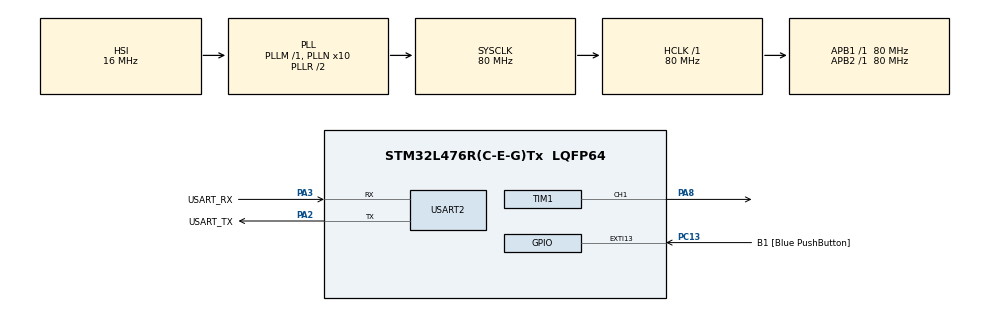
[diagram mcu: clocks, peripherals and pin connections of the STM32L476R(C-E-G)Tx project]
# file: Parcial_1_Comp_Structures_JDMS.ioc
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Mcu.Family=STM32L4
Mcu.Name=STM32L476R(C-E-G)Tx
Mcu.Package=LQFP64
NVIC.PriorityGroup=NVIC_PRIORITYGROUP_4
NVIC.USART2_IRQn=true\:0\:0\:false\:false\:true\:true\:true\:true
PA13\ (JTMS-SWDIO).GPIO_Label=TMS
PA13\ (JTMS-SWDIO).Mode=Serial_Wire
PA13\ (JTMS-SWDIO).Signal=SYS_JTMS-SWDIO
PA14\ (JTCK-SWCLK).GPIO_Label=TCK
PA14\ (JTCK-SWCLK).Mode=Serial_Wire
PA14\ (JTCK-SWCLK).Signal=SYS_JTCK-SWCLK
PA2.GPIO_Label=USART_TX
PA2.GPIO_Mode=GPIO_MODE_AF_PP
PA2.GPIO_PuPd=GPIO_NOPULL
PA2.GPIO_Speed=GPIO_SPEED_FREQ_VERY_HIGH
PA2.Mode=Asynchronous
PA2.Signal=USART2_TX
PA3.GPIO_Label=USART_RX
PA3.GPIO_Mode=GPIO_MODE_AF_PP
PA3.GPIO_PuPd=GPIO_NOPULL
PA3.GPIO_Speed=GPIO_SPEED_FREQ_VERY_HIGH
PA3.Mode=Asynchronous
PA3.Signal=USART2_RX
PA8.Signal=S_TIM1_CH1
PB3\ (JTDO-TRACESWO).GPIO_Label=SWO
PB3\ (JTDO-TRACESWO).Signal=SYS_JTDO-SWO
PC13.GPIO_Label=B1 [Blue PushButton]
PC13.GPIO_ModeDefaultEXTI=GPIO_MODE_IT_FALLING
PC13.GPIO_PuPd=GPIO_NOPULL
PC13.Signal=GPXTI13
PC14-OSC32_IN\ (PC14).Mode=LSE-External-Oscillator
PC14-OSC32_IN\ (PC14).Signal=RCC_OSC32_IN
PC15-OSC32_OUT\ (PC15).Mode=LSE-External-Oscillator
PC15-OSC32_OUT\ (PC15).Signal=RCC_OSC32_OUT
PH0-OSC_IN\ (PH0).Signal=RCC_OSC_IN
PH1-OSC_OUT\ (PH1).Signal=RCC_OSC_OUT
ProjectManager.HeapSize=0x200
ProjectManager.StackSize=0x400
ProjectManager.TargetToolchain=STM32CubeIDE
RCC.ADCFreq_Value=64000000
RCC.AHBFreq_Value=80000000
RCC.APB1Freq_Value=80000000
RCC.APB1TimFreq_Value=80000000
RCC.APB2Freq_Value=80000000
RCC.APB2TimFreq_Value=80000000
RCC.CortexFreq_Value=80000000
RCC.HCLKFreq_Value=80000000
RCC.HSE_VALUE=8000000
RCC.HSI_VALUE=16000000
RCC.MSI_VALUE=4000000
RCC.PLLN=10
RCC.PLLSourceVirtual=RCC_PLLSOURCE_HSI
RCC.PREFETCH_ENABLE=1
RCC.SYSCLKFreq_VALUE=80000000
RCC.SYSCLKSource=RCC_SYSCLKSOURCE_PLLCLK
RCC.USBFreq_Value=64000000
RCC.VCOOutputFreq_Value=160000000
SH.S_TIM1_CH1.0=TIM1_CH1,PWM Generation1 CH1
TIM1.Channel-PWM\ Generation1\ CH1=TIM_CHANNEL_1
TIM1.CounterMode=TIM_COUNTERMODE_UP
TIM1.Period=100-1
TIM1.Prescaler=800-1
USART2.VirtualMode-Asynchronous=VM_ASYNC
VP_TIM1_VS_ClockSourceINT.Mode=Internal
board=NUCLEO-L476RG

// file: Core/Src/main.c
/* USER CODE BEGIN Header */
/**
  ******************************************************************************
  * @file           : main.c
  * @brief          : Main program body
  ******************************************************************************
  * @attention
  *
  * Copyright (c) 2023 STMicroelectronics.
  * All rights reserved.
  *
  * This software is licensed under terms that can be found in the LICENSE file
  * in the root directory of this software component.
  * If no LICENSE file comes with this software, it is provided AS-IS.
  *
  ******************************************************************************
  */
/* USER CODE END Header */
#include "main.h"

/* USER CODE BEGIN Includes */
#include <stdio.h>
/* USER CODE END Includes */

TIM_HandleTypeDef htim1;

UART_HandleTypeDef huart2;

void SystemClock_Config(void);
static void MX_GPIO_Init(void);
static void MX_USART2_UART_Init(void);
static void MX_TIM1_Init(void);

/* USER CODE BEGIN 0 */
uint8_t pwmbuffer=0;
uint8_t uartvalue[8];
uint8_t Rx_data[2];

int _write(int file, char *ptr, int len) // use the function that printf call
{
	HAL_UART_Transmit(&huart2,(uint8_t*)ptr,len,HAL_MAX_DELAY);//transmit the info using usart2
	return len;
}

void HAL_UART_RxCpltCallback(UART_HandleTypeDef *huart) //When the interruption of uart2 receive the function is called
{

	Rx_data[0] =Rx_data[0]-48; //a char ascci is received so it is converted to a decimal number
	Rx_data[1]=Rx_data[1]-48;//a char ascci is received so it is converted to a decimal number
	pwmbuffer = Rx_data[0]*10 +Rx_data[1]; //Ten times the most significant digit  plus the less significant digit
	printf("lo ingresado es:%d %d\r\n",Rx_data[0],Rx_data[1]); //print the decimal values
	HAL_UART_Receive_IT(&huart2,Rx_data,2);// receive the data back to call the function again if necessary
	}
/* USER CODE END 0 */

int main(void)
{

  /* MCU Configuration--------------------------------------------------------*/

  /* Reset of all peripherals, Initializes the Flash interface and the Systick. */
  HAL_Init();

  /* Configure the system clock */
  SystemClock_Config();

  /* Initialize all configured peripherals */
  MX_GPIO_Init();
  MX_USART2_UART_Init();
  MX_TIM1_Init();
  /* USER CODE BEGIN 2 */
  HAL_TIM_PWM_Start(&htim1, TIM_CHANNEL_1); //PWM is started with the timer1

  /* USER CODE END 2 */

  /* Infinite loop */
  /* USER CODE BEGIN WHILE */
  while (1)
  {
	 HAL_UART_Receive_IT(&huart2, Rx_data, 2);//receive the duty cicle by uart, and initialized a interruption

	 htim1.Instance->CCR1 = pwmbuffer;// generate the duty cicle
	 printf("El valor del pwm es: %d\r\n",pwmbuffer); //the pwm duty is printed using uart2
	 HAL_Delay(1000); //wait 1s

    /* USER CODE END WHILE */

  }
}

void SystemClock_Config(void)
{
  RCC_OscInitTypeDef RCC_OscInitStruct = {0};
  RCC_ClkInitTypeDef RCC_ClkInitStruct = {0};

  /** Configure the main internal regulator output voltage
  */
  if (HAL_PWREx_ControlVoltageScaling(PWR_REGULATOR_VOLTAGE_SCALE1) != HAL_OK)
  {
    Error_Handler();
  }

  /** Initializes the RCC Oscillators according to the specified parameters
  * in the RCC_OscInitTypeDef structure.
  */
  RCC_OscInitStruct.OscillatorType = RCC_OSCILLATORTYPE_HSI;
  RCC_OscInitStruct.HSIState = RCC_HSI_ON;
  RCC_OscInitStruct.HSICalibrationValue = RCC_HSICALIBRATION_DEFAULT;
  RCC_OscInitStruct.PLL.PLLState = RCC_PLL_ON;
  RCC_OscInitStruct.PLL.PLLSource = RCC_PLLSOURCE_HSI;
  RCC_OscInitStruct.PLL.PLLM = 1;
  RCC_OscInitStruct.PLL.PLLN = 10;
  RCC_OscInitStruct.PLL.PLLP = RCC_PLLP_DIV7;
  RCC_OscInitStruct.PLL.PLLQ = RCC_PLLQ_DIV2;
  RCC_OscInitStruct.PLL.PLLR = RCC_PLLR_DIV2;
  if (HAL_RCC_OscConfig(&RCC_OscInitStruct) != HAL_OK)
  {
    Error_Handler();
  }

  /** Initializes the CPU, AHB and APB buses clocks
  */
  RCC_ClkInitStruct.ClockType = RCC_CLOCKTYPE_HCLK|RCC_CLOCKTYPE_SYSCLK
                              |RCC_CLOCKTYPE_PCLK1|RCC_CLOCKTYPE_PCLK2;
  RCC_ClkInitStruct.SYSCLKSource = RCC_SYSCLKSOURCE_PLLCLK;
  RCC_ClkInitStruct.AHBCLKDivider = RCC_SYSCLK_DIV1;
  RCC_ClkInitStruct.APB1CLKDivider = RCC_HCLK_DIV1;
  RCC_ClkInitStruct.APB2CLKDivider = RCC_HCLK_DIV1;

  if (HAL_RCC_ClockConfig(&RCC_ClkInitStruct, FLASH_LATENCY_4) != HAL_OK)
  {
    Error_Handler();
  }
}

static void MX_TIM1_Init(void)
{

  TIM_ClockConfigTypeDef sClockSourceConfig = {0};
  TIM_MasterConfigTypeDef sMasterConfig = {0};
  TIM_OC_InitTypeDef sConfigOC = {0};
  TIM_BreakDeadTimeConfigTypeDef sBreakDeadTimeConfig = {0};

  htim1.Instance = TIM1;
  htim1.Init.Prescaler = 800-1;
  htim1.Init.CounterMode = TIM_COUNTERMODE_UP;
  htim1.Init.Period = 100-1;
  htim1.Init.ClockDivision = TIM_CLOCKDIVISION_DIV1;
  htim1.Init.RepetitionCounter = 0;
  htim1.Init.AutoReloadPreload = TIM_AUTORELOAD_PRELOAD_DISABLE;
  if (HAL_TIM_Base_Init(&htim1) != HAL_OK)
  {
    Error_Handler();
  }
  sClockSourceConfig.ClockSource = TIM_CLOCKSOURCE_INTERNAL;
  if (HAL_TIM_ConfigClockSource(&htim1, &sClockSourceConfig) != HAL_OK)
  {
    Error_Handler();
  }
  if (HAL_TIM_PWM_Init(&htim1) != HAL_OK)
  {
    Error_Handler();
  }
  sMasterConfig.MasterOutputTrigger = TIM_TRGO_RESET;
  sMasterConfig.MasterOutputTrigger2 = TIM_TRGO2_RESET;
  sMasterConfig.MasterSlaveMode = TIM_MASTERSLAVEMODE_DISABLE;
  if (HAL_TIMEx_MasterConfigSynchronization(&htim1, &sMasterConfig) != HAL_OK)
  {
    Error_Handler();
  }
  sConfigOC.OCMode = TIM_OCMODE_PWM1;
  sConfigOC.Pulse = 0;
  sConfigOC.OCPolarity = TIM_OCPOLARITY_HIGH;
  sConfigOC.OCNPolarity = TIM_OCNPOLARITY_HIGH;
  sConfigOC.OCFastMode = TIM_OCFAST_DISABLE;
  sConfigOC.OCIdleState = TIM_OCIDLESTATE_RESET;
  sConfigOC.OCNIdleState = TIM_OCNIDLESTATE_RESET;
  if (HAL_TIM_PWM_ConfigChannel(&htim1, &sConfigOC, TIM_CHANNEL_1) != HAL_OK)
  {
    Error_Handler();
  }
  sBreakDeadTimeConfig.OffStateRunMode = TIM_OSSR_DISABLE;
  sBreakDeadTimeConfig.OffStateIDLEMode = TIM_OSSI_DISABLE;
  sBreakDeadTimeConfig.LockLevel = TIM_LOCKLEVEL_OFF;
  sBreakDeadTimeConfig.DeadTime = 0;
  sBreakDeadTimeConfig.BreakState = TIM_BREAK_DISABLE;
  sBreakDeadTimeConfig.BreakPolarity = TIM_BREAKPOLARITY_HIGH;
  sBreakDeadTimeConfig.BreakFilter = 0;
  sBreakDeadTimeConfig.Break2State = TIM_BREAK2_DISABLE;
  sBreakDeadTimeConfig.Break2Polarity = TIM_BREAK2POLARITY_HIGH;
  sBreakDeadTimeConfig.Break2Filter = 0;
  sBreakDeadTimeConfig.AutomaticOutput = TIM_AUTOMATICOUTPUT_DISABLE;
  if (HAL_TIMEx_ConfigBreakDeadTime(&htim1, &sBreakDeadTimeConfig) != HAL_OK)
  {
    Error_Handler();
  }
  HAL_TIM_MspPostInit(&htim1);

}

static void MX_USART2_UART_Init(void)
{

  huart2.Instance = USART2;
  huart2.Init.BaudRate = 115200;
  huart2.Init.WordLength = UART_WORDLENGTH_8B;
  huart2.Init.StopBits = UART_STOPBITS_1;
  huart2.Init.Parity = UART_PARITY_NONE;
  huart2.Init.Mode = UART_MODE_TX_RX;
  huart2.Init.HwFlowCtl = UART_HWCONTROL_NONE;
  huart2.Init.OverSampling = UART_OVERSAMPLING_16;
  huart2.Init.OneBitSampling = UART_ONE_BIT_SAMPLE_DISABLE;
  huart2.AdvancedInit.AdvFeatureInit = UART_ADVFEATURE_NO_INIT;
  if (HAL_UART_Init(&huart2) != HAL_OK)
  {
    Error_Handler();
  }

}

static void MX_GPIO_Init(void)
{
  GPIO_InitTypeDef GPIO_InitStruct = {0};

  /* GPIO Ports Clock Enable */
  __HAL_RCC_GPIOC_CLK_ENABLE();
  __HAL_RCC_GPIOH_CLK_ENABLE();
  __HAL_RCC_GPIOA_CLK_ENABLE();
  __HAL_RCC_GPIOB_CLK_ENABLE();

  /*Configure GPIO pin : B1_Pin */
  GPIO_InitStruct.Pin = B1_Pin;
  GPIO_InitStruct.Mode = GPIO_MODE_IT_FALLING;
  GPIO_InitStruct.Pull = GPIO_NOPULL;
  HAL_GPIO_Init(B1_GPIO_Port, &GPIO_InitStruct);

}

void Error_Handler(void)
{
  __disable_irq();
  while (1)
  {
  }
}
